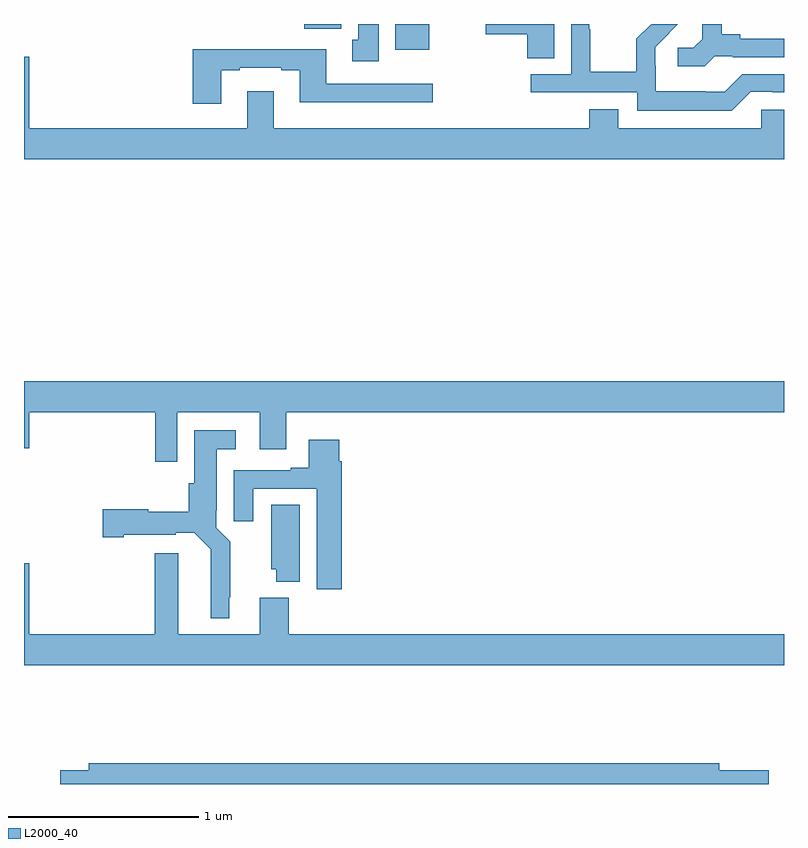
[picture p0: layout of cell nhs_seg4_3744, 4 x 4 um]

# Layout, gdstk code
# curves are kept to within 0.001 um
import gdstk
lib = gdstk.Library(unit=1e-6, precision=1e-09)
def R(c, l, rs):  # rectangles x0, y0, x1, y1
    for r in rs: c.add(gdstk.rectangle(r[:2], r[2:], *l))
def P(c, l, *ps):  # polygons
    for p in ps: c.add(gdstk.Polygon(p, *l))
L2000_40 = (2000, 40)

nhs_seg4_3744 = lib.new_cell('nhs_seg4_3744')
R(nhs_seg4_3744, L2000_40, [(310.955,762.764,311.134,762.9), (310.475,762.876,310.671,762.9)])
P(nhs_seg4_3744, L2000_40, [(312.825,762.543),(312.941,762.543),(312.941,762.54),(313,762.54),(313,762.636),(312.78,762.636),(312.687,762.543),(312.587,762.543),(312.587,762.547),(312.324,762.547),(312.324,762.681),(312.322,762.681),(312.322,762.778),(312.442,762.9),(312.306,762.9),(312.303,762.897),(312.3,762.9),(312.223,762.823),(312.223,762.649),(311.979,762.649),(311.979,762.872),(311.976,762.872),(311.976,762.9),(311.88,762.9),(311.88,762.636),(311.667,762.636),(311.667,762.54),(312.228,762.54),(312.228,762.443),(312.725,762.443)],
  [(311.791,762.9),(311.43,762.9),(311.43,762.845),(311.648,762.845),(311.648,762.721),(311.791,762.721)],
  [(312.636,762.729),(312.73,762.729),(312.73,762.726),(313,762.726),(313,762.822),(312.769,762.822),(312.769,762.845),(312.673,762.845),(312.673,762.9),(312.569,762.9),(312.569,762.821),(312.522,762.774),(312.441,762.774),(312.441,762.677),(312.584,762.677)],
  [(310.867,762.9),(310.76,762.9),(310.76,762.817),(310.727,762.817),(310.727,762.705),(310.867,762.705)],
  [(310.039,762.657),(310.135,762.657),(310.135,762.669),(310.355,762.669),(310.355,762.657),(310.451,762.657),(310.451,762.488),(311.152,762.488),(311.152,762.585),(310.591,762.585),(310.591,762.766),(309.887,762.766),(309.887,762.48),(310.039,762.48)],
  [(309,762.727),(309,762.188),(313,762.188),(313,762.45),(312.879,762.45),(312.879,762.352),(312.127,762.352),(312.127,762.451),(311.975,762.451),(311.975,762.352),(310.315,762.352),(310.315,762.547),(310.175,762.547),(310.175,762.352),(309.028,762.352),(309.028,762.727)],
  [(309.807,760.856),(310.241,760.856),(310.241,760.662),(310.381,760.662),(310.381,760.856),(313,760.856),(313,761.02),(309,761.02),(309,760.668),(309.028,760.668),(309.028,760.856),(309.691,760.856),(309.691,760.596),(309.807,760.596)],
  [(310.081,759.883),(310.085,759.883),(310.085,760.174),(310.011,760.248),(310.011,760.342),(310.015,760.342),(310.015,760.661),(310.114,760.661),(310.114,760.762),(309.896,760.762),(309.896,760.482),(309.866,760.482),(309.866,760.333),(309.654,760.333),(309.654,760.346),(309.414,760.346),(309.414,760.199),(309.526,760.199),(309.526,760.211),(309.798,760.211),(309.798,760.223),(309.897,760.223),(309.984,760.136),(309.983,759.773),(310.081,759.773)],
  [(310.673,760.598),(310.66,760.598),(310.66,760.711),(310.499,760.711),(310.499,760.564),(310.403,760.564),(310.403,760.551),(310.103,760.551),(310.103,760.284),(310.207,760.284),(310.207,760.455),(310.541,760.455),(310.541,759.924),(310.673,759.924)],
  [(310.45,760.37),(310.301,760.37),(310.301,760.029),(310.328,760.029),(310.328,759.965),(310.45,759.965)],
  [(313,759.688),(310.394,759.688),(310.394,759.88),(310.241,759.88),(310.241,759.688),(309.811,759.688),(309.811,760.114),(309.689,760.114),(309.689,759.688),(309.028,759.688),(309.028,760.063),(309,760.063),(309,759.524),(313,759.524)],
  [(312.919,758.972),(312.658,758.972),(312.658,759.008),(309.341,759.008),(309.341,758.972),(309.192,758.972),(309.192,758.9),(312.919,758.9)])

lib.write_gds('nhs_seg4_3744.gds')
